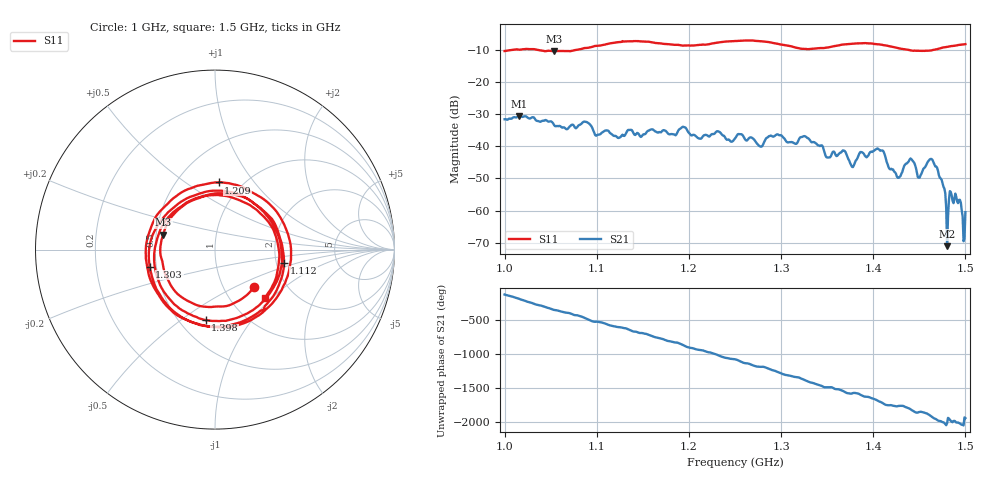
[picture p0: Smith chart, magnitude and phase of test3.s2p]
# HZ S RI R 50
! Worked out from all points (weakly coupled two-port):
!   505 points, 1 GHz to 1.5 GHz, reference 50 ohm
!   highest |S21| = -30.59 dB at 1.016 GHz (marker M1); lowest = -71.1 dB at 1.48 GHz (marker M2)
!   lowest |S11| = -10.4 dB at 1.054 GHz (marker M3), VSWR 1.86, Z = 27.3 + j4.97 ohm
!   |S11| at or under -10 dB: start of sweep to 1.01 GHz; 1.035 GHz to 1.079 GHz (43.58 MHz wide, 4.12 % of centre); 1.438 GHz to 1.466 GHz (28.49 MHz wide, 1.96 % of centre)
!   S12 and S22 are empty: the file has one direction only
!   S11 on the Smith chart (normalised r, x): 1 GHz: 1.38, -0.64; 1.112 GHz: 2.20, -0.37; 1.209 GHz: 0.78, +0.68; 1.303 GHz: 0.46, -0.10; 1.398 GHz: 0.67, -0.62; 1.5 GHz: 1.44, -0.91
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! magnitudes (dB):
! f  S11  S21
! 1 GHz  -10.4  -31.6
! 1.016 GHz  -10.0  -30.6
! 1.054 GHz  -10.4  -33.4
! 1.083 GHz  -9.8  -33.0
! 1.112 GHz  -8.2  -35.1
! 1.167 GHz  -8.0  -35.8
! 1.209 GHz  -8.5  -37.3
! 1.25 GHz  -7.3  -37.6
! 1.303 GHz  -8.5  -37.3
! 1.333 GHz  -9.7  -38.8
! 1.377 GHz  -8.2  -46.4
! 1.398 GHz  -8.0  -41.7
! 1.417 GHz  -8.8  -46.6
! 1.428 GHz  -9.5  -49.8
! 1.441 GHz  -10.2  -44.1
! 1.45 GHz  -10.3  -49.8
! 1.463 GHz  -10.2  -44.0
! 1.476 GHz  -9.3  -52.6
! 1.48 GHz  -9.1  -71.1
! 1.484 GHz  -8.9  -54.2
! 1.491 GHz  -8.6  -57.2
! 1.5 GHz  -8.3  -60.5
